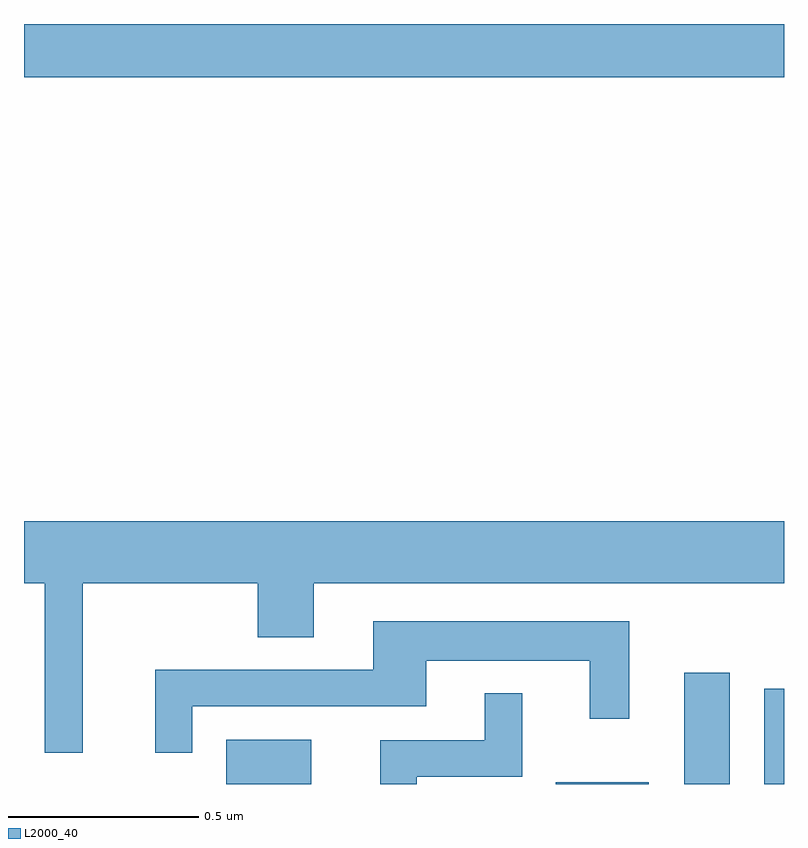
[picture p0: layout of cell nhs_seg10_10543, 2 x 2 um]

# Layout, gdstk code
import gdstk
lib = gdstk.Library(unit=1e-6, precision=1e-09)
def R(c, l, rs):  # rectangles x0, y0, x1, y1
    for r in rs: c.add(gdstk.rectangle(r[:2], r[2:], *l))
def P(c, l, *ps):  # polygons
    for p in ps: c.add(gdstk.Polygon(p, *l))
L2000_40 = (2000, 40)

nhs_seg10_10543 = lib.new_cell('nhs_seg10_10543')
R(nhs_seg10_10543, L2000_40, [(244.532,1254.5,244.756,1254.616), (245.399,1254.5,245.644,1254.505), (245.738,1254.5,245.857,1254.793), (245.948,1254.5,246,1254.751), (244,1256.36,246,1256.5)])
P(nhs_seg10_10543, L2000_40, [(244.154,1255.028),(244.615,1255.028),(244.615,1254.886),(244.762,1254.886),(244.762,1255.028),(246,1255.028),(246,1255.192),(244,1255.192),(244,1255.028),(244.055,1255.028),(244.055,1254.582),(244.154,1254.582)],
  [(244.443,1254.705),(245.059,1254.705),(245.059,1254.824),(245.489,1254.824),(245.489,1254.672),(245.593,1254.672),(245.593,1254.928),(244.919,1254.928),(244.919,1254.801),(244.346,1254.801),(244.346,1254.582),(244.443,1254.582)],
  [(245.034,1254.519),(245.311,1254.519),(245.311,1254.739),(245.213,1254.739),(245.213,1254.615),(244.937,1254.615),(244.937,1254.5),(245.034,1254.5)])

lib.write_gds('nhs_seg10_10543.gds')
